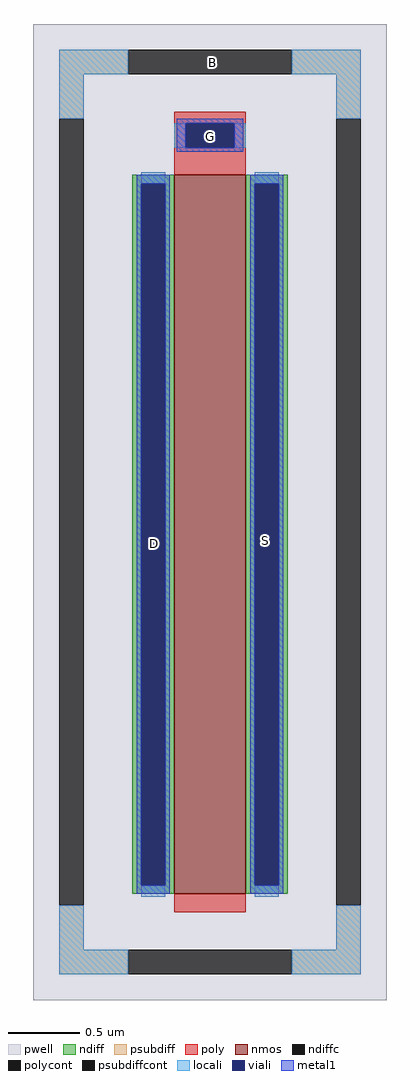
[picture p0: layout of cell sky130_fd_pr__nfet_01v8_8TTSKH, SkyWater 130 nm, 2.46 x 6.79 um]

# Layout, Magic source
magic
tech sky130A
magscale 1 2
<< pwell >>
rect -246 -679 246 679
<< nmos >>
rect -50 -531 50 469
<< ndiff >>
rect -108 457 -50 469
rect -108 -519 -96 457
rect -62 -519 -50 457
rect -108 -531 -50 -519
rect 50 457 108 469
rect 50 -519 62 457
rect 96 -519 108 457
rect 50 -531 108 -519
<< ndiffc >>
rect -96 -519 -62 457
rect 62 -519 96 457
<< psubdiff >>
rect -210 609 -114 643
rect 114 609 210 643
rect -210 547 -176 609
rect 176 547 210 609
rect -210 -609 -176 -547
rect 176 -609 210 -547
rect -210 -643 -114 -609
rect 114 -643 210 -609
<< psubdiffcont >>
rect -114 609 114 643
rect -210 -547 -176 547
rect 176 -547 210 547
rect -114 -643 114 -609
<< poly >>
rect -50 541 50 557
rect -50 507 -34 541
rect 34 507 50 541
rect -50 469 50 507
rect -50 -557 50 -531
<< polycont >>
rect -34 507 34 541
<< locali >>
rect -210 609 -114 643
rect 114 609 210 643
rect -210 547 -176 609
rect 176 547 210 609
rect -50 507 -34 541
rect 34 507 50 541
rect -96 457 -62 473
rect -96 -535 -62 -519
rect 62 457 96 473
rect 62 -535 96 -519
rect -210 -609 -176 -547
rect 176 -609 210 -547
rect -210 -643 -114 -609
rect 114 -643 210 -609
<< viali >>
rect -34 507 34 541
rect -96 -519 -62 457
rect 62 -519 96 457
<< metal1 >>
rect -46 541 46 547
rect -46 507 -34 541
rect 34 507 46 541
rect -46 501 46 507
rect -102 457 -56 469
rect -102 -519 -96 457
rect -62 -519 -56 457
rect -102 -531 -56 -519
rect 56 457 102 469
rect 56 -519 62 457
rect 96 -519 102 457
rect 56 -531 102 -519
<< labels >>
flabel metal1 s -77 -44 -77 -44 0 FreeSans 480 0 0 0 D
port 4 nsew
flabel metal1 s 77 -40 77 -40 0 FreeSans 480 0 0 0 S
port 5 nsew
flabel metal1 s 1 523 1 523 0 FreeSans 480 0 0 0 G
port 6 nsew
flabel locali s 3 625 3 625 0 FreeSans 480 0 0 0 B
port 7 nsew
<< properties >>
string FIXED_BBOX -193 -626 193 626
string gencell sky130_fd_pr__nfet_01v8
string library sky130
string parameters w 5.0 l 0.5 m 1 nf 1 diffcov 100 polycov 100 guard 1 glc 1 grc 1 gtc 1 gbc 1 tbcov 100 rlcov 100 topc 1 botc 0 poverlap 0 doverlap 1 lmin 0.15 wmin 0.42 compatible {sky130_fd_pr__nfet_01v8 sky130_fd_pr__nfet_01v8_lvt  sky130_fd_bs_flash__special_sonosfet_star  sky130_fd_pr__nfet_g5v0d10v5 sky130_fd_pr__nfet_05v0_nvt  sky130_fd_pr__nfet_03v3_nvt} full_metal 1 viasrc 100 viadrn 100 viagate 100 viagb 0 viagr 0 viagl 0 viagt 0
<< end >>
